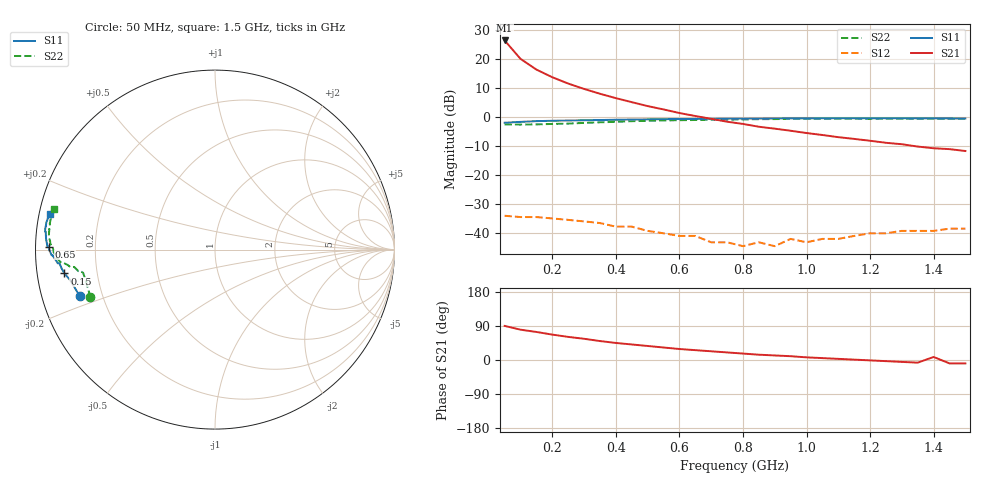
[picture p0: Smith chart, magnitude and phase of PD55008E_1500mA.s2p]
! freq mag(S11) phase(S11) mag(S12) phase(S12)
!  mag(S21) phase(S21) mag(S22) phase(S22)
! Vdd= 12.5 V, Idq = 1500mA
!s-parameter data
#  MHz  S  MA  R 50
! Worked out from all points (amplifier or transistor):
!   30 points, 50 MHz to 1.5 GHz, reference 50 ohm
!   highest |S21| = 26.3 dB at 50 MHz (marker M1)
!   |S21| within 3 dB of that: start of sweep to 73.74 MHz
!   unconditionally stable (mu >= 1): 686.3 MHz to 939.8 MHz; 961.6 MHz to end of sweep
!   at 300 MHz: K = 0.26, MSG = 22.8 dB, |S12| = -35.9 dB
!   at 800 MHz: K = 1.48, MAG = 16.9 dB, |S12| = -44.4 dB
!   at 1.5 GHz: K = 2.40, MAG = 6.7 dB, |S12| = -38.4 dB
!   S11 on the Smith chart (normalised r, x): 50 MHz: 0.12, -0.17; 150 MHz: 0.08, -0.08; 650 MHz: 0.04, +0.01; 1.5 GHz: 0.03, +0.11
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50  0.797 -161.0  20.72 90.0  0.02 2.0  0.743 -159.0
100  0.824 -168.0  10.01 80.0  0.019 -5.0  0.741 -167.0
150  0.849 -171.0  6.54 74.0  0.019 -9.0  0.746 -170.0
200  0.861 -173.0  4.83 67.0  0.018 -14.0  0.759 -171.0
250  0.87 -175.0  3.76 61.0  0.017 -19.0  0.77 -171.0
300  0.879 -175.0  3.04 56.0  0.016 -20.0  0.791 -173.0
350  0.887 -176.0  2.51 50.0  0.015 -21.0  0.811 -173.0
400  0.897 -177.0  2.11 45.0  0.013 -26.0  0.824 -174.0
500  0.911 -178.0  1.54 37.0  0.011 -21.0  0.858 -175.0
550  0.917 -179.0  1.35 33.0  0.01 -23.0  0.871 -176.0
650  0.927 179.0  1.04 26.0  0.009 -16.0  0.887 -178.0
700  0.933 179.0  0.93 23.0  0.007 -8.0  0.899 -179.0
800  0.94 177.0  0.76 17.0  0.006 -2.0  0.906 179.0
850  0.941 177.0  0.68 14.0  0.007 0.0  0.918 178.0
900  0.944 176.0  0.63 12.0  0.006 21.0  0.92 177.0
950  0.946 175.0  0.58 10.0  0.008 17.0  0.927 176.0
1000  0.948 174.0  0.53 7.0  0.007 43.0  0.929 175.0
1050  0.952 174.0  0.49 5.0  0.008 44.0  0.929 175.0
1300  0.952 171.0  0.34 -5.0  0.011 52.0  0.931 170.0
1400  0.947 169.0  0.29 8.0  0.011 58.0  0.937 169.0
1450  0.945 169.0  0.28 -9.0  0.012 60.0  0.926 168.0
1500  0.942 168.0  0.26 -9.0  0.012 64.0  0.927 166.0
